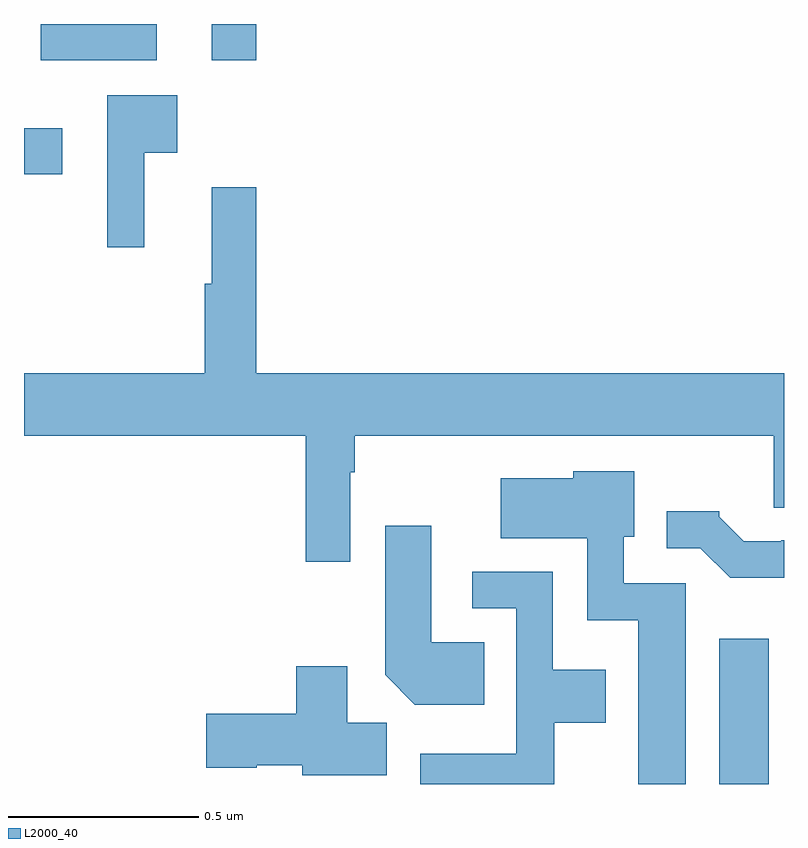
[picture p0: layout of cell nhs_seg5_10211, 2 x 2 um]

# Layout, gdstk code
import gdstk
lib = gdstk.Library(unit=1e-6, precision=1e-09)
def R(c, l, rs):  # rectangles x0, y0, x1, y1
    for r in rs: c.add(gdstk.rectangle(r[:2], r[2:], *l))
def P(c, l, *ps):  # polygons
    for p in ps: c.add(gdstk.Polygon(p, *l))
L2000_40 = (2000, 40)

nhs_seg5_10211 = lib.new_cell('nhs_seg5_10211')
R(nhs_seg5_10211, L2000_40, [(244.829,899.799,244.96,900.181), (243,901.403,243.1,901.525), (243.044,901.703,243.349,901.799), (243.494,901.704,243.611,901.799)])
P(nhs_seg5_10211, L2000_40, [(243.317,901.46),(243.403,901.46),(243.403,901.612),(243.219,901.612),(243.219,901.212),(243.317,901.212)],
  [(243.858,900.62),(243.871,900.62),(243.871,900.716),(244.973,900.716),(244.973,900.526),(245,900.526),(245,900.88),(243.611,900.88),(243.611,901.369),(243.494,901.369),(243.494,901.116),(243.475,901.116),(243.475,900.88),(243,900.88),(243,900.716),(243.742,900.716),(243.742,900.384),(243.858,900.384)],
  [(244.741,900.327),(244.578,900.327),(244.578,900.45),(244.606,900.45),(244.606,900.622),(244.446,900.622),(244.446,900.604),(244.254,900.604),(244.254,900.446),(244.482,900.446),(244.482,900.23),(244.616,900.23),(244.616,899.799),(244.741,899.799)],
  [(245,900.441),(244.993,900.441),(244.993,900.438),(244.894,900.438),(244.83,900.502),(244.83,900.517),(244.691,900.517),(244.691,900.42),(244.779,900.42),(244.858,900.342),(245,900.342)],
  [(244.211,900.172),(244.072,900.172),(244.072,900.478),(243.95,900.478),(243.95,900.086),(244.028,900.008),(244.211,900.008)],
  [(244.395,899.96),(244.531,899.96),(244.531,900.1),(244.392,900.1),(244.392,900.357),(244.179,900.357),(244.179,900.261),(244.296,900.261),(244.296,899.878),(244.043,899.878),(244.043,899.799),(244.395,899.799)],
  [(243.955,899.96),(243.85,899.96),(243.85,900.109),(243.716,900.109),(243.716,899.984),(243.48,899.984),(243.48,899.842),(243.612,899.842),(243.612,899.849),(243.732,899.849),(243.732,899.822),(243.955,899.822)])

lib.write_gds('nhs_seg5_10211.gds')
